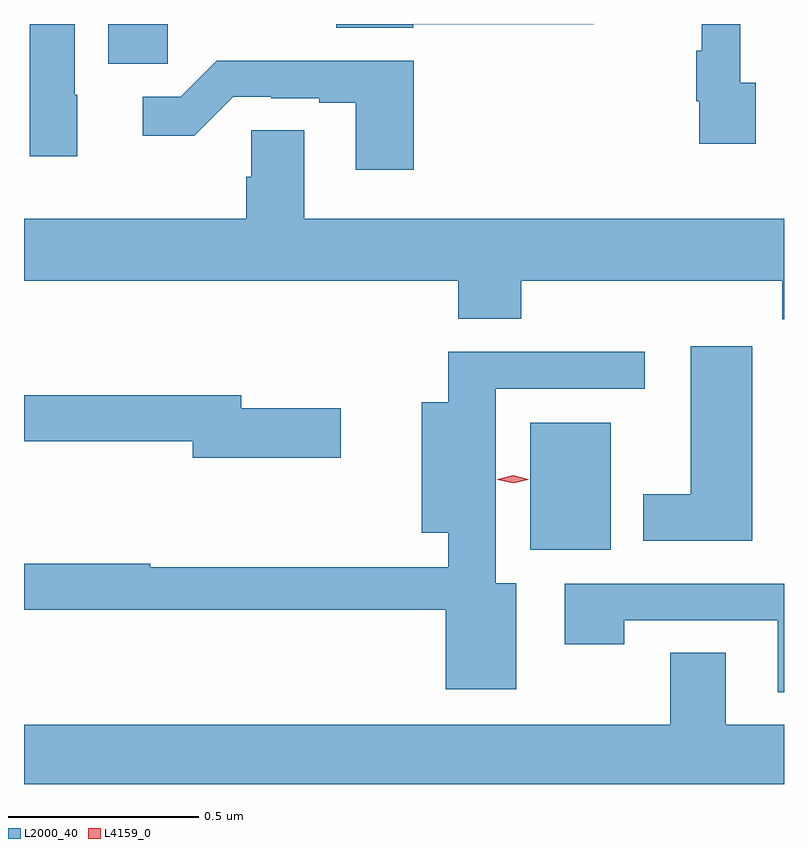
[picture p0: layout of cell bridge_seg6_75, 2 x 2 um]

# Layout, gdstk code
import gdstk
lib = gdstk.Library(unit=1e-6, precision=1e-09)
def R(c, l, rs):  # rectangles x0, y0, x1, y1
    for r in rs: c.add(gdstk.rectangle(r[:2], r[2:], *l))
def P(c, l, *ps):  # polygons
    for p in ps: c.add(gdstk.Polygon(p, *l))
L2000_40 = (2000, 40)
L4159_0 = (4159, 0)

bridge_seg6_75 = lib.new_cell('bridge_seg6_75')
R(bridge_seg6_75, L2000_40, [(827.348,947.96,827.56,948.295), (826.238,949.239,826.394,949.344)])
P(bridge_seg6_75, L2000_40, [(827.04,949.343),(827.515,949.343),(827.515,949.344),(826.838,949.344),(826.838,949.334),(827.04,949.334)],
  [(827.941,949.19),(827.901,949.19),(827.901,949.344),(827.8,949.344),(827.8,949.273),(827.785,949.273),(827.785,949.141),(827.793,949.141),(827.793,949.029),(827.941,949.029)],
  [(826.156,949.158),(826.15,949.158),(826.15,949.344),(826.031,949.344),(826.031,948.996),(826.156,948.996)],
  [(827.042,949.247),(826.523,949.247),(826.428,949.152),(826.329,949.152),(826.329,949.05),(826.464,949.05),(826.566,949.152),(826.666,949.152),(826.666,949.149),(826.793,949.149),(826.793,949.137),(826.889,949.137),(826.889,948.96),(827.042,948.96)],
  [(828.016,948.832),(826.753,948.832),(826.753,949.064),(826.614,949.064),(826.614,948.942),(826.601,948.942),(826.601,948.832),(826.016,948.832),(826.016,948.668),(827.159,948.668),(827.159,948.569),(827.324,948.569),(827.324,948.668),(828.011,948.668),(828.011,948.567),(828.016,948.567)],
  [(827.932,948.496),(827.771,948.496),(827.771,948.106),(827.645,948.106),(827.645,947.984),(827.932,947.984)],
  [(827.311,947.872),(827.257,947.872),(827.257,948.384),(827.65,948.384),(827.65,948.482),(827.132,948.482),(827.132,948.349),(827.063,948.349),(827.063,948.005),(827.132,948.005),(827.132,947.915),(826.348,947.915),(826.348,947.923),(826.016,947.923),(826.016,947.802),(827.126,947.802),(827.126,947.594),(827.311,947.594)],
  [(826.849,948.333),(826.588,948.333),(826.588,948.367),(826.016,948.367),(826.016,948.246),(826.46,948.246),(826.46,948.203),(826.849,948.203)],
  [(828.016,947.871),(827.439,947.871),(827.439,947.712),(827.595,947.712),(827.595,947.775),(827.999,947.775),(827.999,947.586),(828.016,947.586)],
  [(828.016,947.5),(827.863,947.5),(827.863,947.69),(827.716,947.69),(827.716,947.5),(826.016,947.5),(826.016,947.344),(828.016,947.344)])
P(bridge_seg6_75, L4159_0, [(827.303,948.136),(827.263,948.145),(827.262,948.146),(827.263,948.146),(827.303,948.156),(827.343,948.146),(827.343,948.146),(827.343,948.145)])

lib.write_gds('bridge_seg6_75.gds')
